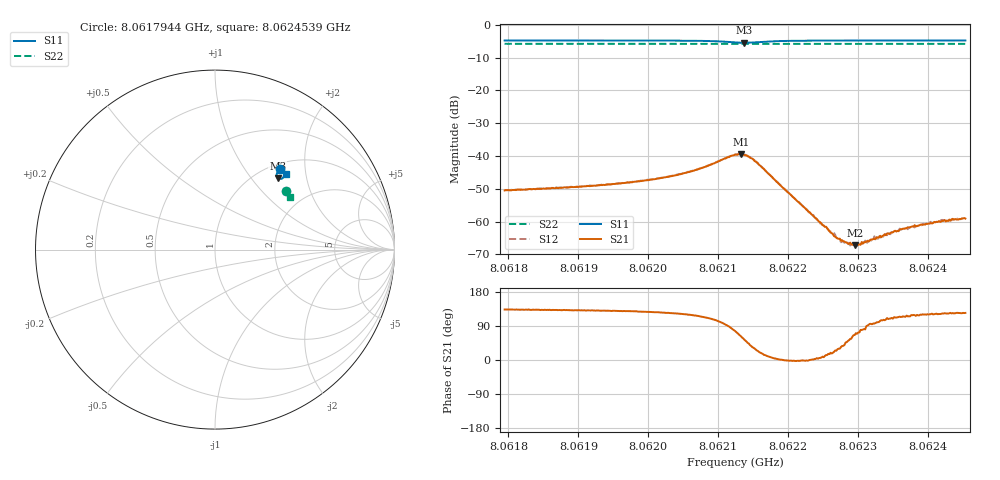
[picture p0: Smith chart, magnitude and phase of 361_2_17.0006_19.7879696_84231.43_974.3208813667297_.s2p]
#  HZ  S  RI  R  50.00
! Rohde & Schwarz Vector Network Analyzer
! Rohde-Schwarz,ZNB20-2Port,1311601062101988,3.16
! Created: UTC 3/20/2024, 11:08:14 PM
! freq[Hz]  re:S11  im:S11  re:S21  im:S21  re:S12  im:S12  re:S22  im:S22
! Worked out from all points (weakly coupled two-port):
!   401 points, 8.0617944 GHz to 8.0624539 GHz, reference 50 ohm
!   highest |S21| = -39.38 dB at 8.0621324 GHz (marker M1); lowest = -67.2 dB at 8.0622956 GHz (marker M2)
!   lowest |S11| = -5.5 dB at 8.0621374 GHz (marker M3), VSWR 3.26, Z = 61.7 + j68.6 ohm
!   |S11| at or under -10 dB: nowhere
!   |S22| runs from -5.9 to -5.8 dB; largest |S21 - S12| = 0.00076
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8.06179444e9  0.3639 0.4465  -0.00204 0.00217  -0.00193 0.00233  0.3969 0.3241
8.0619049e9  0.3715 0.44  -0.00224 0.00256  -0.00207 0.00275  0.4013 0.3186
8.06197579e9  0.3767 0.4344  -0.00247 0.0031  -0.00232 0.00325  0.4037 0.3149
8.06201536e9  0.38 0.4303  -0.00266 0.00369  -0.00243 0.00384  0.4051 0.3131
8.06206481e9  0.3843 0.421  -0.00278 0.00527  -0.00249 0.00549  0.4069 0.3102
8.06212417e9  0.3668 0.3939  0.0024 0.0101  0.00312 0.0101  0.4079 0.3063
8.06213241e9  0.3561 0.3952  0.00485 0.00958  0.00543 0.00928  0.4076 0.3061
8.06213736e9  0.35 0.399  0.00612 0.00844  0.00664 0.00806  0.4076 0.3061
8.06214725e9  0.3434 0.4105  0.00739 0.00558  0.0078 0.00511  0.4079 0.3062
8.06215549e9  0.3436 0.4201  0.00718 0.00335  0.00746 0.00297  0.4084 0.3064
8.06223463e9  0.3726 0.4346  0.00126 2.81e-05  0.00125 -6.52e-05  0.4123 0.3028
8.06226925e9  0.3779 0.4324  0.000516 0.000236  0.000524 0.000216  0.4138 0.3009
8.06227749e9  0.379 0.4319  0.000414 0.000312  0.000407 0.000274  0.414 0.3006
8.06229563e9  0.3808 0.4307  0.000176 0.000397  0.00021 0.000369  0.4148 0.2996
8.06230387e9  0.3818 0.4301  8.06e-05 0.000435  0.000126 0.000458  0.4151 0.2991
8.06231541e9  0.3828 0.4293  -2.46e-05 0.000494  1.62e-05 0.000504  0.4155 0.2987
8.06232365e9  0.3837 0.429  -5.84e-05 0.000536  -6.42e-05 0.000593  0.4158 0.2981
8.06234509e9  0.3855 0.4275  -0.000213 0.000611  -0.00021 0.000608  0.4166 0.2969
8.06235663e9  0.3864 0.427  -0.000277 0.000666  -0.000209 0.000682  0.4169 0.2963
8.06237806e9  0.3881 0.4256  -0.000399 0.000746  -0.000336 0.000736  0.4178 0.2953
8.06240279e9  0.3897 0.4241  -0.000472 0.000798  -0.000428 0.000877  0.4186 0.2939
8.0624539e9  0.3932 0.4213  -0.000625 0.000918  -0.000568 0.00096  0.4203 0.2913
